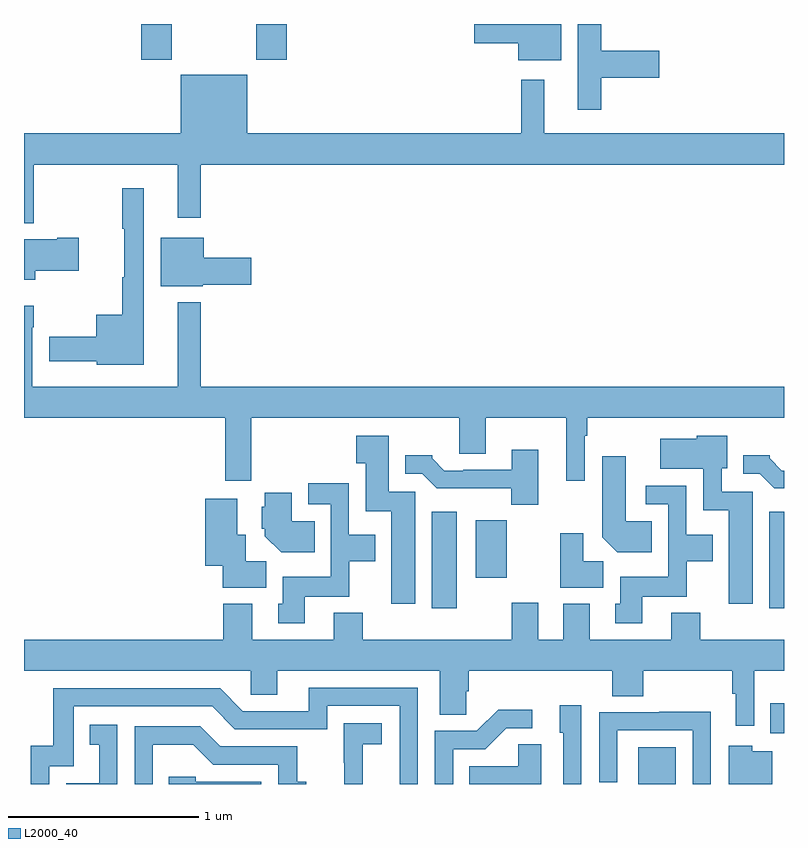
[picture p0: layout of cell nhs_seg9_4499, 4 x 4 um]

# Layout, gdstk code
import gdstk
lib = gdstk.Library(unit=1e-6, precision=1e-09)
def R(c, l, rs):  # rectangles x0, y0, x1, y1
    for r in rs: c.add(gdstk.rectangle(r[:2], r[2:], *l))
def P(c, l, *ps):  # polygons
    for p in ps: c.add(gdstk.Polygon(p, *l))
L2000_40 = (2000, 40)

nhs_seg9_4499 = lib.new_cell('nhs_seg9_4499')
R(nhs_seg9_4499, L2000_40, [(372.233,1186.5,372.43,1186.693), (372.928,1186.766,373,1186.924), (371.147,1187.424,371.278,1187.932), (372.923,1187.424,373,1187.932), (369.617,1190.313,369.777,1190.5), (370.222,1190.313,370.382,1190.5)])
P(nhs_seg9_4499, L2000_40, [(371.827,1190.5),(371.37,1190.5),(371.37,1190.398),(371.6,1190.398),(371.6,1190.309),(371.827,1190.309)],
  [(372.037,1190.218),(372.343,1190.218),(372.343,1190.36),(372.037,1190.36),(372.037,1190.5),(371.915,1190.5),(371.915,1190.049),(372.037,1190.049)],
  [(369,1189.451),(369.051,1189.451),(369.051,1189.76),(369.809,1189.76),(369.809,1189.479),(369.931,1189.479),(369.931,1189.76),(373,1189.76),(373,1189.924),(371.737,1189.924),(371.737,1190.206),(371.616,1190.206),(371.616,1189.924),(370.174,1189.924),(370.174,1190.233),(369.824,1190.233),(369.824,1189.924),(369,1189.924)],
  [(369.631,1189.636),(369.517,1189.636),(369.517,1189.423),(369.527,1189.423),(369.527,1189.166),(369.517,1189.166),(369.517,1188.97),(369.38,1188.97),(369.38,1188.855),(369.132,1188.855),(369.132,1188.725),(369.384,1188.725),(369.384,1188.707),(369.631,1188.707)],
  [(369.942,1189.127),(370.195,1189.127),(370.195,1189.269),(369.946,1189.269),(369.946,1189.375),(369.719,1189.375),(369.719,1189.121),(369.942,1189.121)],
  [(369.058,1189.201),(369.289,1189.201),(369.289,1189.374),(369.176,1189.374),(369.176,1189.366),(369,1189.366),(369,1189.154),(369.058,1189.154)],
  [(370.196,1188.428),(371.291,1188.428),(371.291,1188.238),(371.431,1188.238),(371.431,1188.428),(371.855,1188.428),(371.855,1188.096),(371.952,1188.096),(371.952,1188.332),(371.965,1188.332),(371.965,1188.428),(373,1188.428),(373,1188.592),(369.931,1188.592),(369.931,1189.036),(369.809,1189.036),(369.809,1188.592),(369.043,1188.592),(369.043,1188.905),(369.051,1188.905),(369.051,1189.018),(369,1189.018),(369,1188.428),(370.06,1188.428),(370.06,1188.096),(370.196,1188.096)],
  [(372.835,1188.039),(372.672,1188.039),(372.672,1188.162),(372.7,1188.162),(372.7,1188.334),(372.54,1188.334),(372.54,1188.316),(372.348,1188.316),(372.348,1188.158),(372.576,1188.158),(372.576,1187.942),(372.71,1187.942),(372.71,1187.448),(372.835,1187.448)],
  [(371.059,1188.039),(370.921,1188.039),(370.921,1188.334),(370.748,1188.334),(370.748,1188.187),(370.799,1188.187),(370.799,1187.936),(370.934,1187.936),(370.934,1187.448),(371.059,1187.448)],
  [(371.707,1188.259),(371.567,1188.259),(371.567,1188.153),(371.311,1188.153),(371.311,1188.15),(371.212,1188.15),(371.148,1188.214),(371.148,1188.229),(371.006,1188.229),(371.006,1188.132),(371.097,1188.132),(371.173,1188.056),(371.565,1188.056),(371.565,1187.969),(371.707,1187.969)],
  [(373,1188.15),(372.988,1188.15),(372.924,1188.214),(372.924,1188.229),(372.785,1188.229),(372.785,1188.132),(372.873,1188.132),(372.949,1188.056),(373,1188.056)],
  [(372.305,1187.884),(372.166,1187.884),(372.166,1188.226),(372.044,1188.226),(372.044,1187.798),(372.122,1187.72),(372.305,1187.72)],
  [(370.477,1187.486),(370.713,1187.486),(370.713,1187.672),(370.849,1187.672),(370.849,1187.812),(370.71,1187.812),(370.71,1188.082),(370.497,1188.082),(370.497,1187.973),(370.614,1187.973),(370.614,1187.59),(370.361,1187.59),(370.361,1187.448),(370.337,1187.448),(370.337,1187.346),(370.477,1187.346)],
  [(372.253,1187.486),(372.489,1187.486),(372.489,1187.672),(372.625,1187.672),(372.625,1187.812),(372.486,1187.812),(372.486,1188.069),(372.273,1188.069),(372.273,1187.973),(372.39,1187.973),(372.39,1187.59),(372.137,1187.59),(372.137,1187.448),(372.113,1187.448),(372.113,1187.346),(372.253,1187.346)],
  [(370.529,1187.884),(370.408,1187.884),(370.408,1188.034),(370.268,1188.034),(370.268,1187.958),(370.25,1187.958),(370.25,1187.844),(370.268,1187.844),(370.268,1187.805),(370.353,1187.72),(370.529,1187.72)],
  [(370.276,1187.672),(370.168,1187.672),(370.168,1187.812),(370.123,1187.812),(370.123,1188.001),(369.953,1188.001),(369.953,1187.648),(370.046,1187.648),(370.046,1187.534),(370.276,1187.534)],
  [(371.542,1187.739),(371.54,1187.739),(371.54,1187.887),(371.378,1187.887),(371.378,1187.586),(371.542,1187.586)],
  [(372.049,1187.672),(371.944,1187.672),(371.944,1187.821),(371.822,1187.821),(371.822,1187.534),(372.049,1187.534)],
  [(372.843,1187.096),(373,1187.096),(373,1187.26),(372.56,1187.26),(372.56,1187.401),(372.407,1187.401),(372.407,1187.26),(371.977,1187.26),(371.977,1187.449),(371.837,1187.449),(371.837,1187.26),(371.707,1187.26),(371.707,1187.455),(371.567,1187.455),(371.567,1187.26),(370.784,1187.26),(370.784,1187.401),(370.631,1187.401),(370.631,1187.26),(370.201,1187.26),(370.201,1187.449),(370.049,1187.449),(370.049,1187.26),(369,1187.26),(369,1187.096),(370.194,1187.096),(370.194,1186.969),(370.333,1186.969),(370.333,1187.096),(371.189,1187.096),(371.189,1186.864),(371.328,1186.864),(371.328,1186.987),(371.342,1186.987),(371.342,1187.096),(372.095,1187.096),(372.095,1186.963),(372.26,1186.963),(372.26,1187.096),(372.727,1187.096),(372.727,1186.975),(372.746,1186.975),(372.746,1186.806),(372.843,1186.806)],
  [(369.132,1186.593),(369.261,1186.593),(369.261,1186.908),(369.99,1186.908),(370.11,1186.788),(370.596,1186.788),(370.596,1186.911),(370.977,1186.911),(370.977,1186.5),(371.073,1186.5),(371.073,1187.007),(370.499,1187.007),(370.499,1186.884),(370.152,1186.884),(370.032,1187.004),(369.153,1187.004),(369.153,1186.702),(369.035,1186.702),(369.035,1186.5),(369.132,1186.5)],
  [(371.934,1186.915),(371.819,1186.915),(371.819,1186.77),(371.838,1186.77),(371.838,1186.5),(371.934,1186.5)],
  [(371.259,1186.683),(371.428,1186.683),(371.539,1186.794),(371.674,1186.794),(371.674,1186.892),(371.495,1186.892),(371.382,1186.779),(371.163,1186.779),(371.163,1186.5),(371.259,1186.5)],
  [(372.615,1186.88),(372.343,1186.88),(372.343,1186.878),(372.027,1186.878),(372.027,1186.509),(372.123,1186.509),(372.123,1186.782),(372.519,1186.782),(372.519,1186.5),(372.615,1186.5)],
  [(370.784,1186.709),(370.882,1186.709),(370.882,1186.819),(370.684,1186.819),(370.684,1186.613),(370.685,1186.613),(370.685,1186.5),(370.784,1186.5)],
  [(369.492,1186.813),(369.346,1186.813),(369.346,1186.707),(369.395,1186.707),(369.395,1186.503),(369.222,1186.503),(369.222,1186.5),(369.492,1186.5)],
  [(369.678,1186.706),(369.892,1186.706),(369.996,1186.602),(370.338,1186.602),(370.338,1186.5),(370.486,1186.5),(370.486,1186.513),(370.437,1186.513),(370.437,1186.698),(370.033,1186.698),(369.928,1186.803),(369.582,1186.803),(369.582,1186.5),(369.678,1186.5)],
  [(371.722,1186.709),(371.601,1186.709),(371.601,1186.594),(371.344,1186.594),(371.344,1186.5),(371.722,1186.5)],
  [(372.937,1186.672),(372.832,1186.672),(372.832,1186.702),(372.71,1186.702),(372.71,1186.5),(372.937,1186.5)],
  [(370.248,1186.512),(369.903,1186.512),(369.903,1186.539),(369.763,1186.539),(369.763,1186.5),(370.248,1186.5)])

lib.write_gds('nhs_seg9_4499.gds')
